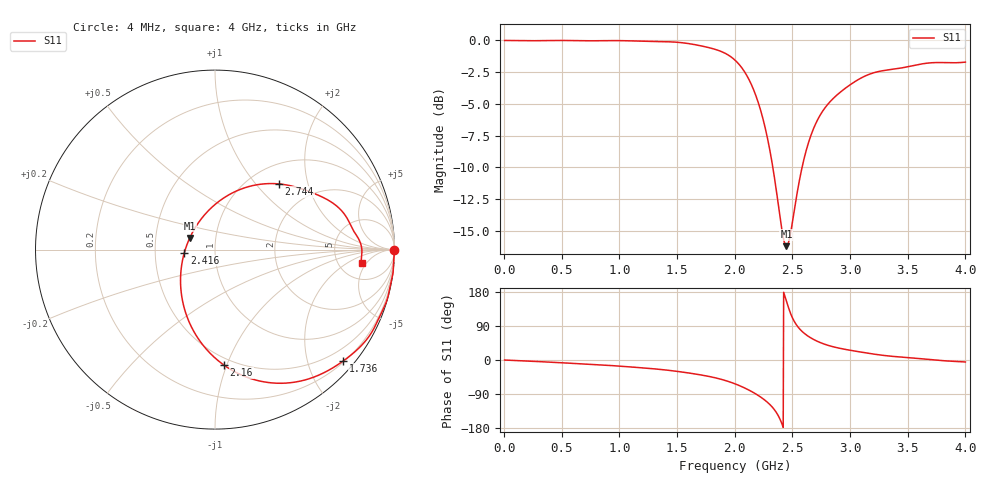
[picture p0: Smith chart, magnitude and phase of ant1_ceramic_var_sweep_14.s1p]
! TOUCHSTONE file generated by CST MICROWAVE STUDIO
! Date and time: Fri May  6 09:22:52 2022
! Project name: ant1_ceramic_sweep_10porcent.cst
! Parameters = {e=0.035; h=1.6; i=0.8; l1=0.5; l2=17; ls=72; wl=1.7; ws=30}
! Header version: 2018
! Port assignment regex: !\s*Touchstone port\s*([0-9]+)\s*=\s*(CST MWS port|CST DS port)\s*([0-9]+|Zmin|Zmax)\s*\(\"(.*)\"\)(\s*mode\s*([0-9]+))?.*
! Touchstone port assignment:
! Touchstone port 1 = CST MWS port 1 ("")
# GHz S DB R 50
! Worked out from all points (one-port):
!   1000 points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, 4 MHz to 4 GHz, reference 50 ohm
!   lowest |S11| = -16.2 dB at 2.448 GHz (marker M1), VSWR 1.37, Z = 37.4 + j4.93 ohm
!   |S11| at or under -10 dB: 2.33 GHz to 2.583 GHz (253.2 MHz wide, 10.3 % of centre)
!   S11 on the Smith chart (normalised r, x): 4 MHz: open; 1.736 GHz: 0.22, -2.66; 2.16 GHz: 0.44, -0.98; 2.416 GHz: 0.71, -0.03; 2.744 GHz: 1.35, +1.34; 4 GHz: 8.45, -3.84
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0.004  -0.00 -0.1
0.504  -0.00 -7.4
1.004  -0.01 -16.3
1.332  -0.09 -24.2
1.504  -0.14 -30.1
1.736  -0.48 -41.0
1.88  -0.86 -50.8
1.944  -1.15 -56.6
2.004  -1.57 -63.1
2.084  -2.45 -73.6
2.16  -3.81 -85.6
2.224  -5.49 -97.7
2.296  -8.25 -115.1
2.356  -11.53 -136.4
2.416  -15.30 -174.2
2.448  -16.20 155.5
2.472  -15.70 132.7
2.504  -14.08 108.8
2.56  -11.04 82.9
2.612  -8.91 68.1
2.672  -7.19 56.1
2.744  -5.83 45.7
2.852  -4.58 35.0
3.004  -3.47 25.5
3.216  -2.51 15.1
3.504  -2.06 6.2
3.7  -1.76 0.9
4  -1.71 -5.2
